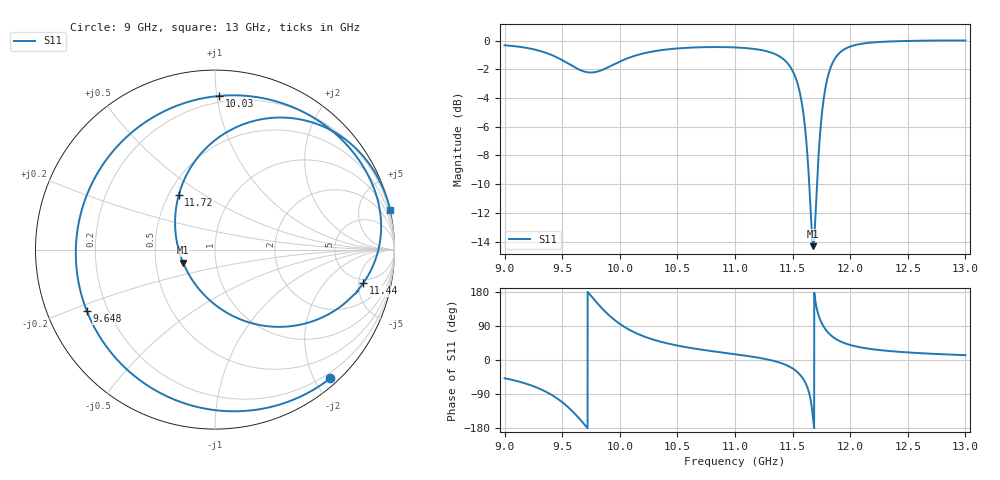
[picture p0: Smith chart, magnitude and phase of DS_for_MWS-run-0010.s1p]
! TOUCHSTONE file generated by CST DESIGN STUDIO
! Date and time: Tue Feb  4 16:00:43 2025
! Project name: C:\Work\MatlabApps\UnitCellOptimizationMatlab\CST\unitcell.cst
! Tree item: Tasks\Sweep1\SPara1\S-Parameters
! Header version: 2024
! Port assignment regex: !\s*Touchstone port\s*([0-9]+)\s*=\s*(CST MWS port|CST DES external port|CST DES block port)\s*(.+)\s* \(\"(.*)\"\)(\s*mode\s*([0-9]+))?.*
! Touchstone port assignment:
! Touchstone port 1 = CST DES external port 1 ("")
# GHz S MA R 50
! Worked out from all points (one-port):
!   4001 points, 9 GHz to 13 GHz, reference 50 ohm
!   lowest |S11| = -14.3 dB at 11.68 GHz (marker M1), VSWR 1.48, Z = 34.6 - j5.2 ohm
!   |S11| at or under -10 dB: 11.64 GHz to 11.71 GHz (67.22 MHz wide, 0.576 % of centre)
!   S11 on the Smith chart (normalised r, x): 9 GHz: 0.11, -2.24; 9.648 GHz: 0.12, -0.22; 10.03 GHz: 0.16, +1.02; 11.44 GHz: 4.30, -5.71; 11.72 GHz: 0.56, +0.40; 13 GHz: -0.01, +8.94
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9  0.9625 -48.1
9.265  0.9295 -70.9
9.398  0.894 -90.3
9.5  0.8545 -111.3
9.648  0.7919 -154.4
9.718  0.7756 -179.2
9.787  0.7765 156.0
9.891  0.8044 122.4
10  0.8448 95.3
10.034  0.8566 88.4
10.24  0.9085 58.9
10.5  0.9384 38.1
11  0.9462 15.2
11.281  0.9162 1.6
11.441  0.8465 -12.8
11.5  0.7842 -22.2
11.557  0.6741 -36.4
11.609  0.4933 -58.7
11.644  0.3182 -87.4
11.679  0.1923 -157.8
11.72  0.3659 123.5
11.764  0.601 91.0
11.811  0.7622 71.5
11.894  0.894 52.3
12  0.953 39.7
12.186  0.9838 28.7
12.5  0.9968 20.0
13  1 12.8
